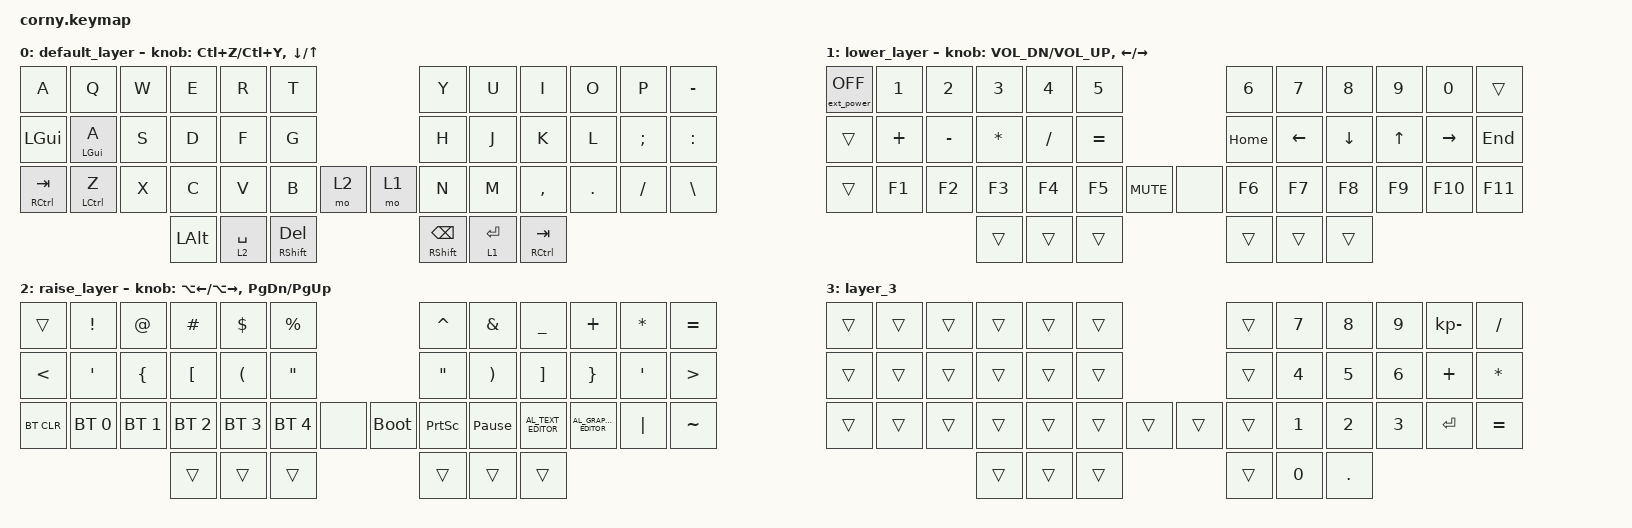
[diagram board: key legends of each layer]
#include <behaviors.dtsi>
#include <dt-bindings/zmk/bt.h>
#include <dt-bindings/zmk/ext_power.h>
#include <dt-bindings/zmk/keys.h>

&mt { flavor = "tap-preferred"; };

/ {
    combos {
        compatible = "zmk,combos";

        eisuu {
            bindings = <&kp LANGUAGE_2>;
            key-positions = <15 16>;
        };

        pa {
            bindings = <&pa>;
            key-positions = <36 37>;
        };

        login {
            bindings = <&login>;
            key-positions = <22 23>;
        };

        kana {
            bindings = <&kp LANGUAGE_1>;
            key-positions = <20 19>;
        };

        mail {
            bindings = <&mail>;
            key-positions = <10 11>;
        };

        to-tenkey {
            bindings = <&tog 3>;
            key-positions = <38 39 40>;
        };
    };

    macros {
        pa: pa {
            compatible = "zmk,behavior-macro";
            #binding-cells = <0>;
            bindings = <&kp P &kp A &kp S &kp W &kp A &kp R &kp D>;
            label = "PA";
        };

        login: login {
            compatible = "zmk,behavior-macro";
            #binding-cells = <0>;
            bindings = <&kp L &kp O &kp G &kp I &kp N &kp I &kp D>;
            label = "LOGIN";
        };

        mail: mail {
            compatible = "zmk,behavior-macro";
            #binding-cells = <0>;
            bindings = <&kp M &kp A &kp I &kp L &kp AT &kp M &kp A &kp I &kp L &kp DOT &kp J &kp P>;
            label = "MAIL";
        };
    };

    keymap {
        compatible = "zmk,keymap";

        default_layer {
            // -------------------------------------------------------------------------------------------------
            // |  TAB |  Q  |  W  |  E  |  R  |  T  |                    |  Y  |  U   |  I  |  O  |  P  | BKSP |
            // | CTRL |  A  |  S  |  D  |  F  |  G  |                    |  H  |  J   |  K  |  L  |  ;  |  '   |
            // | SHFT |  Z  |  X  |  C  |  V  |  B  |  MUTE  |  |        |  N  |  M   |  ,  |  .  |  /  | ESC  |
            //                    | GUI | LWR | SPC |                    | ENT | RSE  | ALT |

            bindings = <
&kp A          &kp Q               &kp W  &kp E         &kp R        &kp T                            &kp Y                      &kp U        &kp I          &kp O    &kp P     &kp MINUS
&kp LEFT_GUI   &mt LEFT_GUI A      &kp S  &kp D         &kp F        &kp G                            &kp H                      &kp J        &kp K          &kp L    &kp SEMI  &kp COLON
&mt RCTRL TAB  &mt LEFT_CONTROL Z  &kp X  &kp C         &kp V        &kp B              &mo 2  &mo 1  &kp N                      &kp M        &kp COMMA      &kp DOT  &kp FSLH  &kp BACKSLASH
                                          &kp LEFT_ALT  &lt 2 SPACE  &mt RSHIFT DELETE                &mt RIGHT_SHIFT BACKSPACE  &lt 1 ENTER  &mt RCTRL TAB
            >;

            sensor-bindings =
                <&inc_dec_kp LC(Z) LC(Y)>,
                <&inc_dec_kp DOWN_ARROW UP_ARROW>;
        };

        lower_layer {
            // ------------------------------------------------------------------------------------------------
            // |  TAB |  1  |  2  |  3  |  4  |  5  |                    |  6  |  7  |  8  |  9  |  0  | BKSP |
            // | BTCLR| BT1 | BT2 | BT3 | BT4 | BT5 |                    | LFT | DWN |  UP | RGT |     |  F12 |
            // | SHFT | F1  | F2  | F3  | F4  | F5  |  boot  |  |        |  F6 | F7  | F8  | F9  | F10 |  F11 |
            //                    | GUI |     | SPC |                    | ENT |     | ALT |

            bindings = <
&ext_power EP_OFF  &kp N1    &kp N2     &kp N3        &kp N4     &kp N5                        &kp N6    &kp N7    &kp N8    &kp N9        &kp N0     &trans
&trans             &kp PLUS  &kp MINUS  &kp ASTERISK  &kp SLASH  &kp EQUAL                     &kp HOME  &kp LEFT  &kp DOWN  &kp UP_ARROW  &kp RIGHT  &kp END
&trans             &kp F1    &kp F2     &kp F3        &kp F4     &kp F5     &kp K_MUTE  &none  &kp F6    &kp F7    &kp F8    &kp F9        &kp F10    &kp F11
                                        &trans        &trans     &trans                        &trans    &trans    &trans
            >;

            sensor-bindings =
                <&inc_dec_kp C_VOL_DN C_VOL_UP>,
                <&inc_dec_kp LEFT_ARROW RIGHT_ARROW>;
        };

        raise_layer {
            // ------------------------------------------------------------------------------------------------
            // |  TAB |  !  |  @  |  #  |  $  |  %  |                    |  ^  |  &  |  *  |  (  |  )  | BKSP |
            // | CTRL |     |     |     |     |     |                    |  -  |  =  |  [  |  ]  |  \  |  `   |
            // | SHFT |     |     |     |     |     |        |  |  boot  |  _  |  +  |  {  |  }  | "|" |  ~   |
            //                    | GUI |     | SPC |                    | ENT |     | ALT |

            bindings = <
&trans         &kp EXCL          &kp AT          &kp HASH          &kp DLLR              &kp PRCNT                              &kp CARET          &kp AMPS               &kp UNDER             &kp PLUS                  &kp ASTERISK      &kp EQUAL
&kp LESS_THAN  &kp SINGLE_QUOTE  &kp LEFT_BRACE  &kp LEFT_BRACKET  &kp LEFT_PARENTHESIS  &kp DOUBLE_QUOTES                      &kp DOUBLE_QUOTES  &kp RIGHT_PARENTHESIS  &kp RIGHT_BRACKET     &kp RIGHT_BRACE           &kp SINGLE_QUOTE  &kp GREATER_THAN
&bt BT_CLR     &bt BT_SEL 0      &bt BT_SEL 1    &bt BT_SEL 2      &bt BT_SEL 3          &bt BT_SEL 4       &none  &bootloader  &kp PRINTSCREEN    &kp PAUSE_BREAK        &kp C_AL_TEXT_EDITOR  &kp C_AL_GRAPHICS_EDITOR  &kp PIPE          &kp TILDE
                                                 &trans            &trans                &trans                                 &trans             &trans                 &trans
            >;

            sensor-bindings =
                <&inc_dec_kp LA(LEFT_ARROW) LA(RIGHT_ARROW)>,
                <&inc_dec_kp PAGE_DOWN PAGE_UP>;
        };

        layer_3 {
            bindings = <
&trans  &trans  &trans  &trans  &trans  &trans                  &trans  &kp N7  &kp N8   &kp N9  &kp KP_MINUS  &kp SLASH
&trans  &trans  &trans  &trans  &trans  &trans                  &trans  &kp N4  &kp N5   &kp N6  &kp PLUS      &kp ASTERISK
&trans  &trans  &trans  &trans  &trans  &trans  &trans  &trans  &trans  &kp N1  &kp N2   &kp N3  &kp ENTER     &kp EQUAL
                        &trans  &trans  &trans                  &trans  &kp N0  &kp DOT
            >;
        };
    };
};
